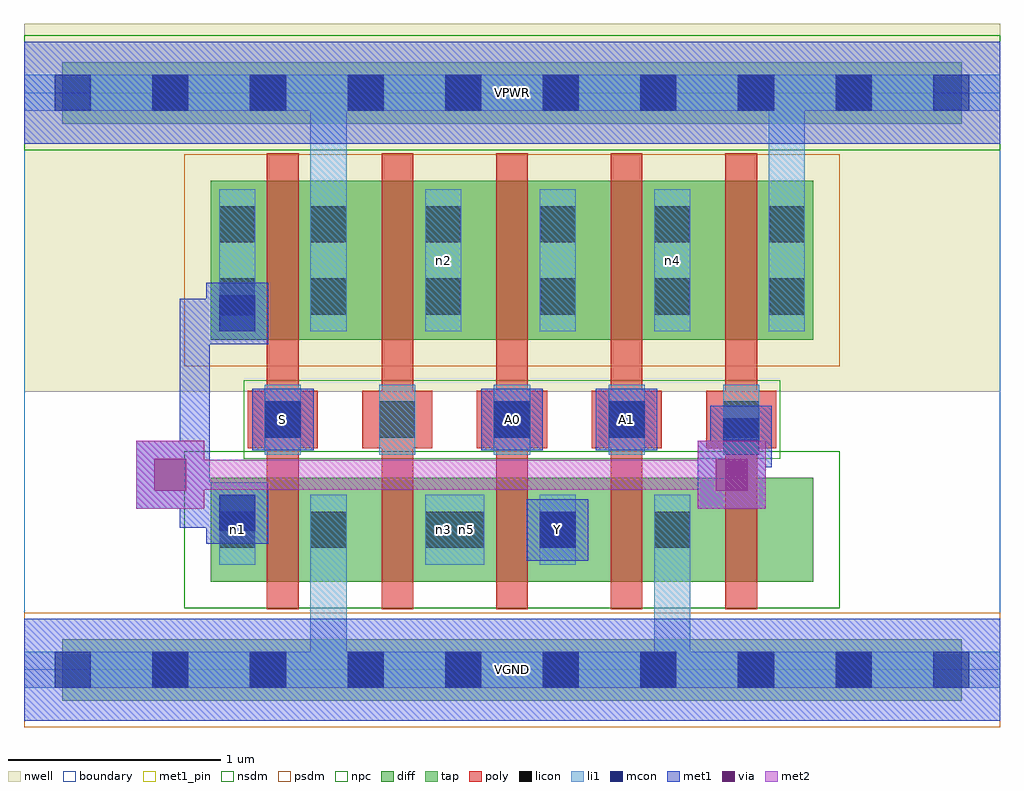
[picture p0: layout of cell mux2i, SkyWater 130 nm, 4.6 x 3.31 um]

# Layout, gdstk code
import gdstk
lib = gdstk.Library(unit=1e-6, precision=1e-09)
def R(c, l, rs):  # rectangles x0, y0, x1, y1
    for r in rs: c.add(gdstk.rectangle(r[:2], r[2:], *l))
def A(c, l, x, y, w, h, nx, ny, dx, dy):  # array of equal rectangles
    R(c, l, [(x+i*dx, y+j*dy, x+i*dx+w, y+j*dy+h) for i in range(nx) for j in range(ny)])
nwell = (64, 20)
diff = (65, 20)
tap = (65, 44)
poly = (66, 20)
licon = (66, 44)
li1 = (67, 20)
mcon = (67, 44)
met1_pin = (68, 16)
met1 = (68, 20)
via = (68, 44)
met2 = (69, 20)
nsdm = (93, 44)
psdm = (94, 20)
npc = (95, 20)
boundary = (235, 4)

mux2i = lib.new_cell('mux2i')
R(mux2i, nwell, [(0,1.31,4.6,3.045)])
R(mux2i, diff, [(0.88,0.415,2.1,0.905), (1.96,0.415,3.72,0.905), (0.88,1.555,3.72,2.305)])
R(mux2i, tap, [(0.18,-0.145,4.42,0.145), (0.18,2.575,4.42,2.865)])
A(mux2i, poly, 1.145, 0.285, 0.15, 2.15, 5, 1, 0.54, 0)
A(mux2i, poly, 1.055, 1.045, 0.33, 0.27, 5, 1, 0.54, 0)
A(mux2i, licon, 0.605, -0.085, 0.17, 0.17, 8, 2, 0.46, 2.72)
A(mux2i, licon, 1.135, 1.095, 0.17, 0.17, 5, 1, 0.54, 0)
A(mux2i, licon, 1.35, 1.675, 0.17, 0.17, 5, 2, 0.54, 0.34)
R(mux2i, licon, [(0.92,0.575,1.09,0.745), (1.35,0.575,1.52,0.745), (1.89,0.575,2.06,0.745), (2,0.575,2.17,0.745), (2.43,0.575,2.6,0.745), (2.97,0.575,3.14,0.745), (0.92,1.675,1.09,1.845), (0.92,2.015,1.09,2.185)])
A(mux2i, li1, 1.135, 1.015, 0.17, 0.33, 5, 1, 0.54, 0)
A(mux2i, li1, 1.35, 1.595, 0.17, 0.67, 5, 1, 0.54, 0)
R(mux2i, li1, [(0,-0.085,4.6,0.085), (1.35,-0.085,1.52,0.825), (2.97,-0.085,3.14,0.825), (0.92,0.495,1.09,0.825), (1.35,0.495,1.52,0.825), (1.89,0.495,2.06,0.825), (2,0.495,2.17,0.825), (2.43,0.495,2.6,0.825), (2.97,0.495,3.14,0.825), (0.92,1.595,1.09,2.265), (1.35,1.595,1.52,2.805), (3.51,1.595,3.68,2.805), (0,2.635,4.6,2.805)])
A(mux2i, mcon, 0.145, -0.085, 0.17, 0.17, 10, 2, 0.46, 2.72)
R(mux2i, mcon, [(2.43,0.575,2.6,0.745), (0.92,0.655,1.09,0.825), (3.295,1.015,3.465,1.185), (1.135,1.095,1.305,1.265), (2.215,1.095,2.385,1.265), (2.755,1.095,2.925,1.265), (0.92,1.595,1.09,1.765)])
R(mux2i, met1_pin, [(0,-0.24,4.6,0.24), (2.37,0.515,2.66,0.805), (1.075,1.035,1.365,1.325), (2.155,1.035,2.445,1.325), (2.695,1.035,2.985,1.325), (0,2.48,4.6,2.96)])
R(mux2i, met1, [(0,-0.24,4.6,0.24), (2.37,0.515,2.66,0.805), (0.86,0.595,1.15,0.885), (0.735,0.67,1.075,0.81), (0.735,0.67,0.875,0.99), (0.53,0.76,0.85,1.08), (3.175,0.76,3.495,1.08), (0.62,0.85,0.875,0.99), (0.735,0.85,0.875,1.565), (3.265,0.85,3.405,1.17), (3.235,0.955,3.525,1.245), (3.265,1.03,3.45,1.17), (1.075,1.035,1.365,1.325), (2.155,1.035,2.445,1.325), (2.695,1.035,2.985,1.325), (0.735,1.425,0.875,1.75), (0.86,1.535,1.15,1.825), (0.735,1.61,1.075,1.75), (0,2.48,4.6,2.96)])
R(mux2i, via, [(0.615,0.845,0.765,0.995), (3.26,0.845,3.41,0.995)])
R(mux2i, met2, [(0.53,0.76,0.85,1.08), (3.175,0.76,3.495,1.08), (0.62,0.85,3.405,0.99)])
R(mux2i, nsdm, [(0.755,0.29,3.845,1.03), (0,2.45,4.6,2.99)])
R(mux2i, psdm, [(0,-0.27,4.6,0.27), (0.755,1.43,3.845,2.43)])
R(mux2i, npc, [(1.035,0.995,3.565,1.365)])
R(mux2i, boundary, [(0,0,4.6,2.72)])
mux2i.add(gdstk.Label('n1', (1.005,0.66), layer=67, texttype=5))
mux2i.add(gdstk.Label('n3', (1.975,0.66), layer=67, texttype=5))
mux2i.add(gdstk.Label('n5', (2.085,0.66), layer=67, texttype=5))
mux2i.add(gdstk.Label('n2', (1.975,1.93), layer=67, texttype=5))
mux2i.add(gdstk.Label('n4', (3.055,1.93), layer=67, texttype=5))
mux2i.add(gdstk.Label('S', (1.22,1.18), layer=68, texttype=5))
mux2i.add(gdstk.Label('A0', (2.3,1.18), layer=68, texttype=5))
mux2i.add(gdstk.Label('A1', (2.84,1.18), layer=68, texttype=5))
mux2i.add(gdstk.Label('Y', (2.515,0.66), layer=68, texttype=5))
mux2i.add(gdstk.Label('VPWR', (2.3,2.72), layer=68, texttype=5))
mux2i.add(gdstk.Label('VGND', (2.3,0), layer=68, texttype=5))
mux2i.add(gdstk.Label('S', (1.22,1.18), layer=68, texttype=16))
mux2i.add(gdstk.Label('A0', (2.3,1.18), layer=68, texttype=16))
mux2i.add(gdstk.Label('A1', (2.84,1.18), layer=68, texttype=16))
mux2i.add(gdstk.Label('Y', (2.515,0.66), layer=68, texttype=16))
mux2i.add(gdstk.Label('VPWR', (2.3,2.72), layer=68, texttype=16))
mux2i.add(gdstk.Label('VGND', (2.3,0), layer=68, texttype=16))

lib.write_gds('mux2i.gds')
